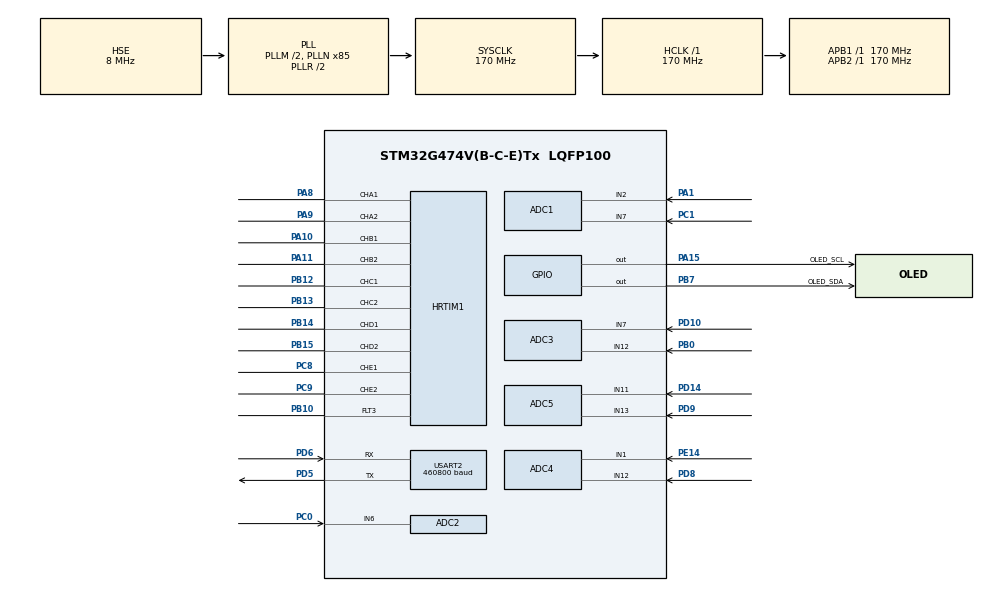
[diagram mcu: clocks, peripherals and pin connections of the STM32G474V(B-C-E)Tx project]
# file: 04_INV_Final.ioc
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ADC1.AWD1HighThreshold=4095
ADC1.AWD1ITMode=ENABLE
ADC1.AWD2HighThreshold=4095
ADC1.AWD2ITMode=ENABLE
ADC1.AWDChannel-1\#ChannelRegularConversion=ADC_CHANNEL_7
ADC1.Channel-0\#ChannelRegularConversion=ADC_CHANNEL_2
ADC1.Channel-1\#ChannelRegularConversion=ADC_CHANNEL_7
ADC1.ClockPrescaler=ADC_CLOCK_ASYNC_DIV4
ADC1.DMAContinuousRequests=ENABLE
ADC1.EOCSelection=ADC_EOC_SEQ_CONV
ADC1.EnableAnalogWatchDog1=true
ADC1.EnableAnalogWatchDog2=true
ADC1.ExternalTrigConv=ADC_EXTERNALTRIG_HRTIM_TRG1
ADC1.MonitoredBy-1\#ChannelRegularConversion=ADC_ANALOGWATCHDOG_2
ADC1.NbrOfConversion=2
ADC1.NbrOfConversionFlag=1
ADC1.OffsetNumber-0\#ChannelRegularConversion=ADC_OFFSET_NONE
ADC1.OffsetNumber-1\#ChannelRegularConversion=ADC_OFFSET_NONE
ADC1.Overrun=ADC_OVR_DATA_OVERWRITTEN
ADC1.Rank-0\#ChannelRegularConversion=1
ADC1.Rank-1\#ChannelRegularConversion=2
ADC1.RegFilteringConfig-1\#ChannelRegularConversion=ADC_AWD_FILTERING_NONE
ADC1.SamplingTime-0\#ChannelRegularConversion=ADC_SAMPLETIME_24CYCLES_5
ADC1.SamplingTime-1\#ChannelRegularConversion=ADC_SAMPLETIME_24CYCLES_5
ADC1.WDG2ChannelR2=ADC_CHANNEL_7
ADC1.WatchdogChannel=ADC_CHANNEL_2
ADC1.WatchdogMode2=ADC_ANALOGWATCHDOG_SINGLE_REGINJEC
ADC1.master=1
ADC2.AWD1HighThreshold=4095
ADC2.AWD1ITMode=ENABLE
ADC2.Channel-0\#ChannelRegularConversion=ADC_CHANNEL_6
ADC2.ClockPrescaler=ADC_CLOCK_ASYNC_DIV4
ADC2.DMAContinuousRequests=ENABLE
ADC2.EOCSelection=ADC_EOC_SEQ_CONV
ADC2.EnableAnalogWatchDog1=true
ADC2.ExternalTrigConv=ADC_EXTERNALTRIG_HRTIM_TRG1
ADC2.NbrOfConversion=1
ADC2.NbrOfConversionFlag=1
ADC2.OffsetNumber-0\#ChannelRegularConversion=ADC_OFFSET_NONE
ADC2.Overrun=ADC_OVR_DATA_OVERWRITTEN
ADC2.Rank-0\#ChannelRegularConversion=1
ADC2.SamplingTime-0\#ChannelRegularConversion=ADC_SAMPLETIME_24CYCLES_5
ADC2.WatchdogChannel=ADC_CHANNEL_6
ADC3.AWD1HighThreshold=4095
ADC3.AWD1ITMode=ENABLE
ADC3.AWD2HighThreshold=4095
ADC3.AWD2ITMode=ENABLE
ADC3.AWDChannel-2\#ChannelRegularConversion=ADC_CHANNEL_7
ADC3.Channel-0\#ChannelRegularConversion=ADC_CHANNEL_12
ADC3.Channel-2\#ChannelRegularConversion=ADC_CHANNEL_7
ADC3.ClockPrescaler=ADC_CLOCK_ASYNC_DIV4
ADC3.DMAContinuousRequests=ENABLE
ADC3.EOCSelection=ADC_EOC_SEQ_CONV
ADC3.EnableAnalogWatchDog1=true
ADC3.EnableAnalogWatchDog2=true
ADC3.ExternalTrigConv=ADC_EXTERNALTRIG_HRTIM_TRG2
ADC3.MonitoredBy-2\#ChannelRegularConversion=ADC_ANALOGWATCHDOG_2
ADC3.NbrOfConversion=2
ADC3.NbrOfConversionFlag=1
ADC3.OffsetNumber-2\#ChannelRegularConversion=ADC_OFFSET_NONE
ADC3.Overrun=ADC_OVR_DATA_OVERWRITTEN
ADC3.Rank-2\#ChannelRegularConversion=2
ADC3.RegFilteringConfig-2\#ChannelRegularConversion=ADC_AWD_FILTERING_NONE
ADC3.SamplingTime-0\#ChannelRegularConversion=ADC_SAMPLETIME_24CYCLES_5
ADC3.SamplingTime-2\#ChannelRegularConversion=ADC_SAMPLETIME_24CYCLES_5
ADC3.WDG2ChannelR2=ADC_CHANNEL_7
ADC3.WatchdogChannel=ADC_CHANNEL_12
ADC3.WatchdogMode2=ADC_ANALOGWATCHDOG_SINGLE_REGINJEC
ADC3.master=1
ADC4.AWD1HighThreshold=4095
ADC4.AWD1ITMode=ENABLE
ADC4.AWD2HighThreshold=4095
ADC4.AWD2ITMode=ENABLE
ADC4.AWDChannel-1\#ChannelRegularConversion=ADC_CHANNEL_1
ADC4.Channel-0\#ChannelRegularConversion=ADC_CHANNEL_12
ADC4.Channel-1\#ChannelRegularConversion=ADC_CHANNEL_1
ADC4.ClockPrescaler=ADC_CLOCK_ASYNC_DIV4
ADC4.DMAContinuousRequests=ENABLE
ADC4.EOCSelection=ADC_EOC_SEQ_CONV
ADC4.EnableAnalogWatchDog1=true
ADC4.EnableAnalogWatchDog2=true
ADC4.ExternalTrigConv=ADC_EXTERNALTRIG_HRTIM_TRG2
ADC4.MonitoredBy-1\#ChannelRegularConversion=ADC_ANALOGWATCHDOG_2
ADC4.NbrOfConversion=2
ADC4.NbrOfConversionFlag=1
ADC4.OffsetNumber-0\#ChannelRegularConversion=ADC_OFFSET_NONE
ADC4.OffsetNumber-1\#ChannelRegularConversion=ADC_OFFSET_NONE
ADC4.Overrun=ADC_OVR_DATA_OVERWRITTEN
ADC4.Rank-0\#ChannelRegularConversion=1
ADC4.Rank-1\#ChannelRegularConversion=2
ADC4.RegFilteringConfig-1\#ChannelRegularConversion=ADC_AWD_FILTERING_NONE
ADC4.SamplingTime-0\#ChannelRegularConversion=ADC_SAMPLETIME_24CYCLES_5
ADC4.SamplingTime-1\#ChannelRegularConversion=ADC_SAMPLETIME_24CYCLES_5
ADC4.WDG2ChannelR2=ADC_CHANNEL_1
ADC4.WatchdogChannel=ADC_CHANNEL_12
ADC4.WatchdogMode2=ADC_ANALOGWATCHDOG_SINGLE_REGINJEC
ADC5.AWD1HighThreshold=4095
ADC5.AWD1ITMode=ENABLE
ADC5.AWD2HighThreshold=4095
ADC5.AWD2ITMode=ENABLE
ADC5.AWDChannel-1\#ChannelRegularConversion=ADC_CHANNEL_11
ADC5.Channel-0\#ChannelRegularConversion=ADC_CHANNEL_13
ADC5.Channel-1\#ChannelRegularConversion=ADC_CHANNEL_11
ADC5.ClockPrescaler=ADC_CLOCK_ASYNC_DIV4
ADC5.DMAContinuousRequests=ENABLE
ADC5.EOCSelection=ADC_EOC_SEQ_CONV
ADC5.EnableAnalogWatchDog1=true
ADC5.EnableAnalogWatchDog2=true
ADC5.ExternalTrigConv=ADC_EXTERNALTRIG_HRTIM_TRG2
ADC5.MonitoredBy-1\#ChannelRegularConversion=ADC_ANALOGWATCHDOG_2
ADC5.NbrOfConversion=2
ADC5.NbrOfConversionFlag=1
ADC5.OffsetNumber-0\#ChannelRegularConversion=ADC_OFFSET_NONE
ADC5.OffsetNumber-1\#ChannelRegularConversion=ADC_OFFSET_NONE
ADC5.Overrun=ADC_OVR_DATA_OVERWRITTEN
ADC5.Rank-0\#ChannelRegularConversion=1
ADC5.Rank-1\#ChannelRegularConversion=2
ADC5.RegFilteringConfig-1\#ChannelRegularConversion=ADC_AWD_FILTERING_NONE
ADC5.SamplingTime-0\#ChannelRegularConversion=ADC_SAMPLETIME_24CYCLES_5
ADC5.SamplingTime-1\#ChannelRegularConversion=ADC_SAMPLETIME_24CYCLES_5
ADC5.WDG2ChannelR2=ADC_CHANNEL_11
ADC5.WatchdogChannel=ADC_CHANNEL_13
ADC5.WatchdogMode2=ADC_ANALOGWATCHDOG_SINGLE_REGINJEC
Dma.ADC1.0.Direction=DMA_PERIPH_TO_MEMORY
Dma.ADC1.0.EventEnable=DISABLE
Dma.ADC1.0.Instance=DMA1_Channel1
Dma.ADC1.0.MemDataAlignment=DMA_MDATAALIGN_HALFWORD
Dma.ADC1.0.MemInc=DMA_MINC_ENABLE
Dma.ADC1.0.Mode=DMA_CIRCULAR
Dma.ADC1.0.PeriphDataAlignment=DMA_PDATAALIGN_HALFWORD
Dma.ADC1.0.PeriphInc=DMA_PINC_DISABLE
Dma.ADC1.0.Polarity=HAL_DMAMUX_REQ_GEN_RISING
Dma.ADC1.0.Priority=DMA_PRIORITY_HIGH
Dma.ADC1.0.RequestNumber=1
Dma.ADC1.0.SignalID=NONE
Dma.ADC1.0.SyncEnable=DISABLE
Dma.ADC1.0.SyncPolarity=HAL_DMAMUX_SYNC_NO_EVENT
Dma.ADC1.0.SyncRequestNumber=1
Dma.ADC1.0.SyncSignalID=NONE
Dma.ADC2.1.Direction=DMA_PERIPH_TO_MEMORY
Dma.ADC2.1.EventEnable=DISABLE
Dma.ADC2.1.Instance=DMA1_Channel2
Dma.ADC2.1.MemDataAlignment=DMA_MDATAALIGN_HALFWORD
Dma.ADC2.1.MemInc=DMA_MINC_ENABLE
Dma.ADC2.1.Mode=DMA_CIRCULAR
Dma.ADC2.1.PeriphDataAlignment=DMA_PDATAALIGN_HALFWORD
Dma.ADC2.1.PeriphInc=DMA_PINC_DISABLE
Dma.ADC2.1.Polarity=HAL_DMAMUX_REQ_GEN_RISING
Dma.ADC2.1.Priority=DMA_PRIORITY_HIGH
Dma.ADC2.1.RequestNumber=1
Dma.ADC2.1.SignalID=NONE
Dma.ADC2.1.SyncEnable=DISABLE
Dma.ADC2.1.SyncPolarity=HAL_DMAMUX_SYNC_NO_EVENT
Dma.ADC2.1.SyncRequestNumber=1
Dma.ADC2.1.SyncSignalID=NONE
Dma.ADC3.4.Direction=DMA_PERIPH_TO_MEMORY
Dma.ADC3.4.EventEnable=DISABLE
Dma.ADC3.4.Instance=DMA2_Channel1
Dma.ADC3.4.MemDataAlignment=DMA_MDATAALIGN_HALFWORD
Dma.ADC3.4.MemInc=DMA_MINC_ENABLE
Dma.ADC3.4.Mode=DMA_CIRCULAR
Dma.ADC3.4.PeriphDataAlignment=DMA_PDATAALIGN_HALFWORD
Dma.ADC3.4.PeriphInc=DMA_PINC_DISABLE
Dma.ADC3.4.Polarity=HAL_DMAMUX_REQ_GEN_RISING
Dma.ADC3.4.Priority=DMA_PRIORITY_HIGH
Dma.ADC3.4.RequestNumber=1
Dma.ADC3.4.SignalID=NONE
Dma.ADC3.4.SyncEnable=DISABLE
Dma.ADC3.4.SyncPolarity=HAL_DMAMUX_SYNC_NO_EVENT
Dma.ADC3.4.SyncRequestNumber=1
Dma.ADC3.4.SyncSignalID=NONE
Dma.ADC4.2.Direction=DMA_PERIPH_TO_MEMORY
Dma.ADC4.2.EventEnable=DISABLE
Dma.ADC4.2.Instance=DMA2_Channel2
Dma.ADC4.2.MemDataAlignment=DMA_MDATAALIGN_HALFWORD
Dma.ADC4.2.MemInc=DMA_MINC_ENABLE
Dma.ADC4.2.Mode=DMA_CIRCULAR
Dma.ADC4.2.PeriphDataAlignment=DMA_PDATAALIGN_HALFWORD
Dma.ADC4.2.PeriphInc=DMA_PINC_DISABLE
Dma.ADC4.2.Polarity=HAL_DMAMUX_REQ_GEN_RISING
Dma.ADC4.2.Priority=DMA_PRIORITY_HIGH
Dma.ADC4.2.RequestNumber=1
Dma.ADC4.2.SignalID=NONE
Dma.ADC4.2.SyncEnable=DISABLE
Dma.ADC4.2.SyncPolarity=HAL_DMAMUX_SYNC_NO_EVENT
Dma.ADC4.2.SyncRequestNumber=1
Dma.ADC4.2.SyncSignalID=NONE
Dma.ADC5.3.Direction=DMA_PERIPH_TO_MEMORY
Dma.ADC5.3.EventEnable=DISABLE
Dma.ADC5.3.Instance=DMA2_Channel3
Dma.ADC5.3.MemDataAlignment=DMA_MDATAALIGN_HALFWORD
Dma.ADC5.3.MemInc=DMA_MINC_ENABLE
Dma.ADC5.3.Mode=DMA_CIRCULAR
Dma.ADC5.3.PeriphDataAlignment=DMA_PDATAALIGN_HALFWORD
Dma.ADC5.3.PeriphInc=DMA_PINC_DISABLE
Dma.ADC5.3.Polarity=HAL_DMAMUX_REQ_GEN_RISING
Dma.ADC5.3.Priority=DMA_PRIORITY_HIGH
Dma.ADC5.3.RequestNumber=1
Dma.ADC5.3.SignalID=NONE
Dma.ADC5.3.SyncEnable=DISABLE
Dma.ADC5.3.SyncPolarity=HAL_DMAMUX_SYNC_NO_EVENT
Dma.ADC5.3.SyncRequestNumber=1
Dma.ADC5.3.SyncSignalID=NONE
Dma.Request0=ADC1
Dma.Request1=ADC2
Dma.Request2=ADC4
Dma.Request3=ADC5
Dma.Request4=ADC3
HRTIM1.ADCTrigger1_Source1=HRTIM_ADCTRIGGEREVENT13_MASTER_CMP2
HRTIM1.ADCTrigger2_Source1=HRTIM_ADCTRIGGEREVENT24_MASTER_CMP2
HRTIM1.ADCTrigger_Id1=HRTIM_ADCTRIGGER_1
HRTIM1.ADCTrigger_Id2=HRTIM_ADCTRIGGER_2
HRTIM1.BlankingSourceFaultLine3=__NULL
HRTIM1.Bmrom_TA=HRTIM_TIM_BMROM_BOTH
HRTIM1.Bmrom_TB=HRTIM_TIM_BMROM_BOTH
HRTIM1.Bmrom_TC=HRTIM_TIM_BMROM_BOTH
HRTIM1.Bmrom_TD=HRTIM_TIM_BMROM_BOTH
HRTIM1.Bmrom_TE=HRTIM_TIM_BMROM_BOTH
HRTIM1.CompareUnit1-MasterTimer=__NULL
HRTIM1.CompareUnit1-Output_TA1TA2=HRTIM_COMPAREUNIT_1
HRTIM1.CompareUnit1-Output_TB1TB2=HRTIM_COMPAREUNIT_1
HRTIM1.CompareUnit1-Output_TC1TC2=HRTIM_COMPAREUNIT_1
HRTIM1.CompareUnit1-Output_TD1TD2=HRTIM_COMPAREUNIT_1
HRTIM1.CompareUnit1-Output_TE1TE2=HRTIM_COMPAREUNIT_1
HRTIM1.CompareUnit2-MasterTimer=HRTIM_COMPAREUNIT_2
HRTIM1.CompareValue1-Output_TA1TA2=17000
HRTIM1.CompareValue1-Output_TB1TB2=17000
HRTIM1.CompareValue1-Output_TC1TC2=17000
HRTIM1.CompareValue1-Output_TD1TD2=17000
HRTIM1.CompareValue1-Output_TE1TE2=17000
HRTIM1.CompareValue2-MasterTimer=17000
HRTIM1.DeadTimeInsertion-Output_TA1TA2=HRTIM_TIMDEADTIMEINSERTION_ENABLED
HRTIM1.DeadTimeInsertion-Output_TB1TB2=HRTIM_TIMDEADTIMEINSERTION_ENABLED
HRTIM1.DeadTimeInsertion-Output_TC1TC2=HRTIM_TIMDEADTIMEINSERTION_ENABLED
HRTIM1.DeadTimeInsertion-Output_TD1TD2=HRTIM_TIMDEADTIMEINSERTION_ENABLED
HRTIM1.DeadTimeInsertion-Output_TE1TE2=HRTIM_TIMDEADTIMEINSERTION_ENABLED
HRTIM1.FallingValue-Output_TA1TA2=85
HRTIM1.FallingValue-Output_TB1TB2=85
HRTIM1.FallingValue-Output_TC1TC2=85
HRTIM1.FallingValue-Output_TD1TD2=85
HRTIM1.FallingValue-Output_TE1TE2=85
HRTIM1.FaultEnable_Source1-Output_TA1TA2=HRTIM_TIMFAULTENABLE_FAULT3
HRTIM1.FaultEnable_Source1-Output_TB1TB2=HRTIM_TIMFAULTENABLE_FAULT3
HRTIM1.FaultEnable_Source1-Output_TC1TC2=HRTIM_TIMFAULTENABLE_FAULT3
HRTIM1.FaultEnable_Source1-Output_TD1TD2=HRTIM_TIMFAULTENABLE_FAULT3
HRTIM1.FaultEnable_Source1-Output_TE1TE2=HRTIM_TIMFAULTENABLE_FAULT3
HRTIM1.FaultLevel1-Output_TA1TA2=HRTIM_OUTPUTFAULTLEVEL_INACTIVE
HRTIM1.FaultLevel1-Output_TB1TB2=HRTIM_OUTPUTFAULTLEVEL_INACTIVE
HRTIM1.FaultLevel1-Output_TC1TC2=HRTIM_OUTPUTFAULTLEVEL_INACTIVE
HRTIM1.FaultLevel1-Output_TD1TD2=HRTIM_OUTPUTFAULTLEVEL_INACTIVE
HRTIM1.FaultLevel1-Output_TE1TE2=HRTIM_OUTPUTFAULTLEVEL_INACTIVE
HRTIM1.FaultLevel2-Output_TA1TA2=HRTIM_OUTPUTFAULTLEVEL_INACTIVE
HRTIM1.FaultLevel2-Output_TB1TB2=HRTIM_OUTPUTFAULTLEVEL_INACTIVE
HRTIM1.FaultLevel2-Output_TC1TC2=HRTIM_OUTPUTFAULTLEVEL_INACTIVE
HRTIM1.FaultLevel2-Output_TD1TD2=HRTIM_OUTPUTFAULTLEVEL_INACTIVE
HRTIM1.FaultLevel2-Output_TE1TE2=HRTIM_OUTPUTFAULTLEVEL_INACTIVE
HRTIM1.Fault_Line3=HRTIM_FAULT_3
HRTIM1.Ferom_TA=HRTIM_TIM_FEROM_BOTH
HRTIM1.Ferom_TB=HRTIM_TIM_FEROM_BOTH
HRTIM1.Ferom_TC=HRTIM_TIM_FEROM_BOTH
HRTIM1.Ferom_TD=HRTIM_TIM_FEROM_BOTH
HRTIM1.Ferom_TE=HRTIM_TIM_FEROM_BOTH
HRTIM1.HRTIMInterruptResquests1=HRTIM_IT_FLT3
HRTIM1.NumberADCTriggerSource1=1
HRTIM1.NumberADCTriggerSource2=1
HRTIM1.NumberFaultEnable-Output_TA1TA2=1
HRTIM1.NumberFaultEnable-Output_TB1TB2=1
HRTIM1.NumberFaultEnable-Output_TC1TC2=1
HRTIM1.NumberFaultEnable-Output_TD1TD2=1
HRTIM1.NumberFaultEnable-Output_TE1TE2=1
HRTIM1.NumberResetSource1-Output_TA1TA2=1
HRTIM1.NumberResetSource1-Output_TB1TB2=1
HRTIM1.NumberResetSource1-Output_TC1TC2=1
HRTIM1.NumberResetSource1-Output_TD1TD2=1
HRTIM1.NumberResetSource1-Output_TE1TE2=1
HRTIM1.NumberSetSource1-Output_TA1TA2=1
HRTIM1.NumberSetSource1-Output_TB1TB2=1
HRTIM1.NumberSetSource1-Output_TC1TC2=1
HRTIM1.NumberSetSource1-Output_TD1TD2=1
HRTIM1.NumberSetSource1-Output_TE1TE2=1
HRTIM1.NumberUpdateTrigger-Output_TA1TA2=0
HRTIM1.Outrom_TA=HRTIM_TIM_OUTROM_VALLEY
HRTIM1.Outrom_TB=HRTIM_TIM_OUTROM_VALLEY
HRTIM1.Outrom_TC=HRTIM_TIM_OUTROM_VALLEY
HRTIM1.Outrom_TD=HRTIM_TIM_OUTROM_VALLEY
HRTIM1.Outrom_TE=HRTIM_TIM_OUTROM_VALLEY
HRTIM1.Periode_MASTER=34000
HRTIM1.Periode_TA=34000
HRTIM1.Periode_TB=34000
HRTIM1.Periode_TC=34000
HRTIM1.Periode_TD=34000
HRTIM1.Periode_TE=34000
HRTIM1.Polarity_FaultLine3=HRTIM_FAULTPOLARITY_LOW
HRTIM1.PreloadEnable-Output_TA1TA2=HRTIM_PRELOAD_ENABLED
HRTIM1.PreloadEnable-Output_TB1TB2=HRTIM_PRELOAD_ENABLED
HRTIM1.PreloadEnable-Output_TC1TC2=HRTIM_PRELOAD_ENABLED
HRTIM1.PreloadEnable-Output_TD1TD2=HRTIM_PRELOAD_ENABLED
HRTIM1.PreloadEnable-Output_TE1TE2=HRTIM_PRELOAD_ENABLED
HRTIM1.PrescalerDead-Output_TA1TA2=HRTIM_TIMDEADTIME_PRESCALERRATIO_DIV1
HRTIM1.PrescalerDead-Output_TB1TB2=HRTIM_TIMDEADTIME_PRESCALERRATIO_DIV1
HRTIM1.PrescalerDead-Output_TC1TC2=HRTIM_TIMDEADTIME_PRESCALERRATIO_DIV1
HRTIM1.PrescalerDead-Output_TD1TD2=HRTIM_TIMDEADTIME_PRESCALERRATIO_DIV1
HRTIM1.PrescalerDead-Output_TE1TE2=HRTIM_TIMDEADTIME_PRESCALERRATIO_DIV1
HRTIM1.PrescalerRatio_MASTER=HRTIM_PRESCALERRATIO_MUL2
HRTIM1.PrescalerRatio_TA=HRTIM_PRESCALERRATIO_MUL4
HRTIM1.PrescalerRatio_TB=HRTIM_PRESCALERRATIO_MUL4
HRTIM1.PrescalerRatio_TC=HRTIM_PRESCALERRATIO_MUL4
HRTIM1.PrescalerRatio_TD=HRTIM_PRESCALERRATIO_MUL4
HRTIM1.PrescalerRatio_TE=HRTIM_PRESCALERRATIO_MUL4
HRTIM1.RepetitionCounter-MasterTimer=0
HRTIM1.RepetitionCounter-Output_TA1TA2=0
HRTIM1.RepetitionCounter-Output_TB1TB2=0
HRTIM1.RepetitionCounter-Output_TC1TC2=0
HRTIM1.RepetitionCounter-Output_TD1TD2=0
HRTIM1.RepetitionCounter-Output_TE1TE2=0
HRTIM1.RepetitionUpdate-Output_TA1TA2=HRTIM_UPDATEONREPETITION_ENABLED
HRTIM1.RepetitionUpdate-Output_TB1TB2=HRTIM_UPDATEONREPETITION_ENABLED
HRTIM1.RepetitionUpdate-Output_TC1TC2=HRTIM_UPDATEONREPETITION_ENABLED
HRTIM1.RepetitionUpdate-Output_TD1TD2=HRTIM_UPDATEONREPETITION_ENABLED
HRTIM1.RepetitionUpdate-Output_TE1TE2=HRTIM_UPDATEONREPETITION_ENABLED
HRTIM1.ResetOutput1_Source1-Output_TA1TA2=HRTIM_OUTPUTRESET_TIMCMP1
HRTIM1.ResetOutput1_Source1-Output_TB1TB2=HRTIM_OUTPUTRESET_TIMCMP1
HRTIM1.ResetOutput1_Source1-Output_TC1TC2=HRTIM_OUTPUTRESET_TIMCMP1
HRTIM1.ResetOutput1_Source1-Output_TD1TD2=HRTIM_OUTPUTRESET_TIMCMP1
HRTIM1.ResetOutput1_Source1-Output_TE1TE2=HRTIM_OUTPUTRESET_TIMCMP1
HRTIM1.RisingValue-Output_TA1TA2=85
HRTIM1.RisingValue-Output_TB1TB2=85
HRTIM1.RisingValue-Output_TC1TC2=85
HRTIM1.RisingValue-Output_TD1TD2=85
HRTIM1.RisingValue-Output_TE1TE2=85
HRTIM1.SetOutput1_Source1-Output_TA1TA2=HRTIM_OUTPUTSET_TIMCMP1
HRTIM1.SetOutput1_Source1-Output_TB1TB2=HRTIM_OUTPUTSET_TIMCMP1
HRTIM1.SetOutput1_Source1-Output_TC1TC2=HRTIM_OUTPUTSET_TIMCMP1
HRTIM1.SetOutput1_Source1-Output_TD1TD2=HRTIM_OUTPUTSET_TIMCMP1
HRTIM1.SetOutput1_Source1-Output_TE1TE2=HRTIM_OUTPUTSET_TIMCMP1
HRTIM1.UpDownMode-Output_TA1TA2=HRTIM_TIMERUPDOWNMODE_UPDOWN
HRTIM1.UpDownMode-Output_TB1TB2=HRTIM_TIMERUPDOWNMODE_UPDOWN
HRTIM1.UpDownMode-Output_TC1TC2=HRTIM_TIMERUPDOWNMODE_UPDOWN
HRTIM1.UpDownMode-Output_TD1TD2=HRTIM_TIMERUPDOWNMODE_UPDOWN
HRTIM1.UpDownMode-Output_TE1TE2=HRTIM_TIMERUPDOWNMODE_UPDOWN
HRTIM1.postscaler1=0
HRTIM1.postscaler2=0
HRTIM1.rom_TA=HRTIM_TIM_ROM_VALLEY
HRTIM1.rom_TB=HRTIM_TIM_ROM_VALLEY
HRTIM1.rom_TC=HRTIM_TIM_ROM_VALLEY
HRTIM1.rom_TD=HRTIM_TIM_ROM_VALLEY
HRTIM1.rom_TE=HRTIM_TIM_ROM_VALLEY
IWDG.Prescaler=IWDG_PRESCALER_64
IWDG.Reload=249
Mcu.Family=STM32G4
Mcu.Name=STM32G474V(B-C-E)Tx
Mcu.Package=LQFP100
NVIC.ADC1_2_IRQn=true\:1\:0\:true\:false\:true\:true\:true\:true
NVIC.ADC3_IRQn=true\:1\:0\:true\:false\:true\:true\:true\:true
NVIC.ADC4_IRQn=true\:1\:0\:true\:false\:true\:true\:true\:true
NVIC.ADC5_IRQn=true\:1\:0\:true\:false\:true\:true\:true\:true
NVIC.DMA1_Channel1_IRQn=true\:2\:0\:true\:false\:true\:false\:true\:true
NVIC.DMA1_Channel2_IRQn=true\:1\:0\:true\:false\:true\:false\:true\:true
NVIC.DMA2_Channel1_IRQn=true\:1\:0\:true\:false\:true\:false\:true\:true
NVIC.DMA2_Channel2_IRQn=true\:1\:0\:true\:false\:true\:false\:true\:true
NVIC.DMA2_Channel3_IRQn=true\:1\:0\:true\:false\:true\:false\:true\:true
NVIC.HRTIM1_FLT_IRQn=true\:0\:0\:false\:false\:true\:true\:true\:true
NVIC.PriorityGroup=NVIC_PRIORITYGROUP_4
PA1.Mode=IN2-Single-Ended
PA1.Signal=ADC1_IN2
PA10.Mode=Output_TB1TB2
PA10.Signal=HRTIM1_CHB1
PA11.Mode=Output_TB1TB2
PA11.Signal=HRTIM1_CHB2
PA13.Mode=Serial_Wire
PA13.Signal=SYS_JTMS-SWDIO
PA14.Mode=Serial_Wire
PA14.Signal=SYS_JTCK-SWCLK
PA15.GPIO_Label=OLED_SCL
PA15.GPIO_ModeDefaultOutputPP=GPIO_MODE_OUTPUT_PP
PA15.GPIO_PuPd=GPIO_NOPULL
PA15.GPIO_Speed=GPIO_SPEED_FREQ_HIGH
PA15.Signal=GPIO_Output
PA8.Mode=Output_TA1TA2
PA8.Signal=HRTIM1_CHA1
PA9.Mode=Output_TA1TA2
PA9.Signal=HRTIM1_CHA2
PB0.Mode=IN12-Single-Ended
PB0.Signal=ADC3_IN12
PB10.GPIO_PuPd=GPIO_PULLUP
PB10.Mode=Fault_Enable3
PB10.Signal=HRTIM1_FLT3
PB12.Mode=Output_TC1TC2
PB12.Signal=HRTIM1_CHC1
PB13.Mode=Output_TC1TC2
PB13.Signal=HRTIM1_CHC2
PB14.Mode=Output_TD1TD2
PB14.Signal=HRTIM1_CHD1
PB15.Mode=Output_TD1TD2
PB15.Signal=HRTIM1_CHD2
PB7.GPIO_Label=OLED_SDA
PB7.GPIO_ModeDefaultOutputPP=GPIO_MODE_OUTPUT_OD
PB7.GPIO_PuPd=GPIO_NOPULL
PB7.GPIO_Speed=GPIO_SPEED_FREQ_HIGH
PB7.Signal=GPIO_Output
PC0.Mode=IN6-Single-Ended
PC0.Signal=ADC2_IN6
PC1.Mode=IN7-Single-Ended
PC1.Signal=ADC1_IN7
PC8.Mode=Output_TE1TE2
PC8.Signal=HRTIM1_CHE1
PC9.Mode=Output_TE1TE2
PC9.Signal=HRTIM1_CHE2
PD10.Mode=IN7-Single-Ended
PD10.Signal=ADC3_IN7
PD14.Mode=IN11-Single-Ended
PD14.Signal=ADC5_IN11
PD5.Mode=Asynchronous
PD5.Signal=USART2_TX
PD6.Mode=Asynchronous
PD6.Signal=USART2_RX
PD8.Mode=IN12-Single-Ended
PD8.Signal=ADC4_IN12
PD9.Mode=IN13-Single-Ended
PD9.Signal=ADC5_IN13
PE14.Mode=IN1-Single-Ended
PE14.Signal=ADC4_IN1
PF0-OSC_IN.Mode=HSE-External-Oscillator
PF0-OSC_IN.Signal=RCC_OSC_IN
PF1-OSC_OUT.Mode=HSE-External-Oscillator
PF1-OSC_OUT.Signal=RCC_OSC_OUT
ProjectManager.HeapSize=0x200
ProjectManager.StackSize=0x400
ProjectManager.TargetToolchain=MDK-ARM V5.32
RCC.ADC12Freq_Value=170000000
RCC.ADC345Freq_Value=170000000
RCC.AHBFreq_Value=170000000
RCC.APB1Freq_Value=170000000
RCC.APB1TimFreq_Value=170000000
RCC.APB2Freq_Value=170000000
RCC.APB2TimFreq_Value=170000000
RCC.CortexFreq_Value=170000000
RCC.EXTERNAL_CLOCK_VALUE=12288000
RCC.EnbaleCSS=true
RCC.HCLKFreq_Value=170000000
RCC.HSE_VALUE=8000000
RCC.HSI48_VALUE=48000000
RCC.HSI_VALUE=16000000
RCC.LSE_VALUE=32768
RCC.PLLM=RCC_PLLM_DIV2
RCC.PLLN=85
RCC.PLLSourceVirtual=RCC_PLLSOURCE_HSE
RCC.SYSCLKFreq_VALUE=170000000
RCC.SYSCLKSource=RCC_SYSCLKSOURCE_PLLCLK
RCC.USBFreq_Value=170000000
RCC.VCOOutputFreq_Value=340000000
USART2.BaudRate=460800
USART2.VirtualMode-Asynchronous=VM_ASYNC
VP_HRTIM1_VS_hrtimMasterTimerNoOutput.Mode=MasterTimer
VP_IWDG_VS_IWDG.Mode=IWDG_Activate
VP_SYS_VS_DBSignals.Mode=DisableDeadBatterySignals
board=custom

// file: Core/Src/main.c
/* USER CODE BEGIN Header */
/**
  ******************************************************************************
  * @file           : main.c
  * @brief          : 三相逆变开环、ADC标定与α/β双PR电压闭环调试入口
  ******************************************************************************
  * @attention
  *
  * Copyright (c) 2026 STMicroelectronics.
  * All rights reserved.
  *
  ******************************************************************************
  */
/* USER CODE END Header */
#include "main.h"
#include "adc.h"
#include "dma.h"
#include "hrtim.h"
#include "usart.h"
#include "gpio.h"

/* USER CODE BEGIN Includes */
#include "CBSVPWM.h"
#include "OLED.h"
#include "inv_hrtim.h"
#include "inv_measure.h"
#include "inv_open_loop.h"
#include "inv_user_config.h"
#include "inv_voltage_pr.h"
#include "iwdg.h"
#include "vofa.h"
/* USER CODE END Includes */

/* USER CODE BEGIN PTD */

/** 应用状态只在本文件内部使用，状态码通过OLED和VOFA对外发布。 */
typedef enum
{
  INV_STATE_SAFE = 0U,
  INV_STATE_ADC_START,
  INV_STATE_ADC_READY,
  INV_STATE_CALIBRATION_BLOCK,
  INV_STATE_PR_RAMP,
  INV_STATE_PR_RUN,
  INV_STATE_FAULT_LATCH
} INV_AppState;

/* USER CODE END PTD */

/* USER CODE BEGIN PD */

#if (INV_USER_OUTPUT_FREQUENCY == 30U)
#define INV_SELECTED_FREQUENCY INV_FREQ_30HZ
#else
#define INV_SELECTED_FREQUENCY INV_FREQ_60HZ
#endif

#if (INV_USER_WORK_MODE == INV_MODE_ADC_CALIBRATION)
  #if (INV_USER_CALIBRATION_STEP == INV_CAL_STEP_ZERO)
    #define INV_SELECTED_MEASURE_MODE INV_MEASURE_CALIBRATE_ZERO
  #else
    #define INV_SELECTED_MEASURE_MODE INV_MEASURE_CALIBRATE_GAIN
  #endif
#else
  #define INV_SELECTED_MEASURE_MODE INV_MEASURE_RUN_AUTO_OFFSET
#endif

/* USER CODE END PD */

/* USER CODE BEGIN PV */

static float vofa_data[VOFA_MAX_CHANNELS];
static CBSVPWM_t inv_svpwm;
static volatile INV_AppState inv_state = INV_STATE_SAFE;
static volatile uint32_t inv_control_heartbeat;

#if (INV_USER_WORK_MODE != INV_MODE_ADC_CALIBRATION)
static const INV_OpenLoopConfig inv_open_loop_config =
{
  INV_USER_DC_BUS_V,
  INV_USER_LINE_RMS_V,
  INV_SELECTED_FREQUENCY,
  INV_USER_MODULATION_LIMIT,
  INV_USER_SOFT_START_MS,
  INV_USER_CONTROL_FREQUENCY_HZ
};
#endif

static const INV_MeasureConfig inv_measure_config =
{
  INV_SELECTED_MEASURE_MODE,
  INV_USER_OFFSET_SAMPLES,
  INV_USER_GAIN_SAMPLES,
  INV_USER_CAL_MIN_DELTA_COUNTS,
  {
    INV_USER_IU_OFFSET, INV_USER_IV_OFFSET, INV_USER_IW_OFFSET,
    INV_USER_VUV_OFFSET, INV_USER_VVW_OFFSET, INV_USER_VWU_OFFSET
  },
  {
    INV_USER_IU_SCALE_A_PER_COUNT,
    INV_USER_IV_SCALE_A_PER_COUNT,
    INV_USER_IW_SCALE_A_PER_COUNT,
    INV_USER_VUV_SCALE_V_PER_COUNT,
    INV_USER_VVW_SCALE_V_PER_COUNT,
    INV_USER_VWU_SCALE_V_PER_COUNT
  },
  INV_USER_CALIBRATION_CHANNEL,
  INV_USER_CALIBRATION_REFERENCE,
  INV_USER_ADC_MAX_SKEW_FRAMES,
  INV_USER_ADC_RAIL_LOW_COUNT,
  INV_USER_ADC_RAIL_HIGH_COUNT,
  INV_USER_ADC_RAIL_CONFIRM_FRAMES
};

#if (INV_USER_WORK_MODE == INV_MODE_VOLTAGE_PR)
static const INV_VoltagePRConfig inv_voltage_pr_config =
{
  INV_USER_PR_KP,
  INV_USER_PR_KR,
  (float)INV_USER_OUTPUT_FREQUENCY,
  INV_USER_PR_BANDWIDTH_RAD_S,
  (float)INV_USER_CONTROL_FREQUENCY_HZ,
  INV_USER_PR_CORRECTION_LIMIT_V,
  INV_USER_PR_RECOVERY_VALID_FRAMES,
  (INV_USER_PR_TAKEOVER_MS * INV_USER_CONTROL_FREQUENCY_HZ) / 1000U
};
#endif

/* USER CODE END PV */

void SystemClock_Config(void);
/* USER CODE BEGIN PFP */
static void INV_AppLatchFault3(void);
static void INV_AppHandleDiagnostic(uint32_t diagnostic_bits);
static HAL_StatusTypeDef INV_AppWaitForSampling(void);
#if ((INV_USER_WORK_MODE != INV_MODE_ADC_CALIBRATION) && \
     !((INV_USER_WORK_MODE == INV_MODE_VOLTAGE_PR) && \
       (INV_USER_VOLTAGE_CALIBRATION_CONFIRMED == 0U)))
static HAL_StatusTypeDef INV_AppEnableOutputs(void);
#endif
#if (INV_USER_WORK_MODE != INV_MODE_ADC_CALIBRATION)
static void INV_AppRunFastControl(const INV_Measurement *measurement);
#endif
#if (INV_USER_WORK_MODE == INV_MODE_VOLTAGE_PR)
static uint32_t INV_DisplayUnsignedCenti(float value);
static int32_t INV_DisplaySignedCenti(float value);
#endif
/* USER CODE END PFP */

/* USER CODE BEGIN 0 */

/**
 * @brief 记录一个调试诊断，并按编译开关决定是否升级为软件关断。
 * @param diagnostic_bits INV_DiagnosticMask位组合。
 * @note 默认INV_USER_RELAXED_PR_TEST=1时只记录，PWM继续运行或回退开环。
 */
static void INV_AppHandleDiagnostic(uint32_t diagnostic_bits)
{
  INV_Measure_LatchDiagnostic(diagnostic_bits);
#if (INV_USER_RELAXED_PR_TEST == 0U)
  INV_HRTIM_DisableOutputs();
  INV_Measure_LatchFault(INV_FAULT_SYSTEM);
  INV_OpenLoop_Reset();
  INV_VoltagePR_Reset();
  CBSVPWM_Reset(&inv_svpwm);
  inv_state = INV_STATE_FAULT_LATCH;
#endif
}

/**
 * @brief HRTIM硬件已关断后锁存FLT3，并禁止软件自动重新开放PWM。
 * @note 可从Fault ISR调用；不执行OLED、USART、HAL_Delay或其他阻塞操作。
 */
static void INV_AppLatchFault3(void)
{
  INV_HRTIM_DisableOutputs();
  INV_Measure_LatchFault(INV_FAULT_FLT3);
  INV_OpenLoop_Reset();
  INV_VoltagePR_Reset();
  CBSVPWM_Reset(&inv_svpwm);
  inv_state = INV_STATE_FAULT_LATCH;
}

/** 等待ZERO/GAIN或运行模式自动offset完成，等待期间六路PWM保持关闭。 */
static HAL_StatusTypeDef INV_AppWaitForSampling(void)
{
  uint32_t start_tick = HAL_GetTick();
  INV_Measurement measurement;
#if (INV_USER_WORK_MODE == INV_MODE_ADC_CALIBRATION)
  INV_CalibrationResult calibration;
#endif

  while ((HAL_GetTick() - start_tick) < INV_USER_STARTUP_TIMEOUT_MS)
  {
    INV_Measure_GetSnapshot(&measurement);
#if (INV_USER_WORK_MODE == INV_MODE_ADC_CALIBRATION)
    INV_Measure_GetCalibrationResult(&calibration);
    if (calibration.complete != 0U)
    {
      return HAL_OK;
    }
#else
    if ((measurement.offset_ready != 0U) && (measurement.valid != 0U))
    {
      return HAL_OK;
    }
#endif
  }
  INV_AppHandleDiagnostic(INV_DIAG_ADC_SYNC);
  return HAL_TIMEOUT;
}

/** 在50%初始占空比、PB10正常时按用户输出开关开放六路PWM。 */
#if ((INV_USER_WORK_MODE != INV_MODE_ADC_CALIBRATION) && \
     !((INV_USER_WORK_MODE == INV_MODE_VOLTAGE_PR) && \
       (INV_USER_VOLTAGE_CALIBRATION_CONFIRMED == 0U)))
static HAL_StatusTypeDef INV_AppEnableOutputs(void)
{
  if ((HAL_GPIO_ReadPin(GPIOB, GPIO_PIN_10) == GPIO_PIN_RESET) ||
      (__HAL_HRTIM_GET_FLAG(&hhrtim1, HRTIM_FLAG_FLT3) != RESET))
  {
    INV_AppLatchFault3();
    return HAL_ERROR;
  }
  if (INV_HRTIM_SetDuty(0.5f, 0.5f, 0.5f) != HAL_OK)
  {
    INV_AppHandleDiagnostic(INV_DIAG_PWM_COMMAND);
    return HAL_ERROR;
  }
#if (INV_USER_ENABLE_PWM_OUTPUT != 0U)
  return INV_HRTIM_EnableOutputs();
#else
  return HAL_OK;
#endif
}
#endif

/**
 * @brief 在一个完整ADC同步帧后运行一次DDS、双PR、CBSVPWM和Compare更新。
 * @param measurement 六通道一致性快照；波形模式可传NULL。
 * @note 运行于DMA ISR，目标频率10 kHz；禁止OLED、USART及阻塞HAL调用。
 */
#if (INV_USER_WORK_MODE != INV_MODE_ADC_CALIBRATION)
static void INV_AppRunFastControl(const INV_Measurement *measurement)
{
  INV_OpenLoopOutput reference;
  float vu_command;
  float vv_command;
  float vw_command;

  if ((inv_state != INV_STATE_PR_RAMP) && (inv_state != INV_STATE_PR_RUN))
  {
    return;
  }
  if (!INV_OpenLoop_Step(&reference))
  {
    INV_AppHandleDiagnostic(INV_DIAG_PARAMETER);
    return;
  }

  vu_command = reference.vu_command;
  vv_command = reference.vv_command;
  vw_command = reference.vw_command;

#if (INV_USER_WORK_MODE == INV_MODE_VOLTAGE_PR)
  {
    INV_VoltagePRTelemetry voltage_control;
    if (!INV_VoltagePR_Step(&reference, measurement, &voltage_control))
    {
      INV_VoltagePR_Reset();
      INV_AppHandleDiagnostic(INV_DIAG_PR_INVALID);
    }
    else
    {
      vu_command = voltage_control.vu_command;
      vv_command = voltage_control.vv_command;
      vw_command = voltage_control.vw_command;
      if (voltage_control.feedback_valid == 0U)
      {
        INV_AppHandleDiagnostic(INV_DIAG_PR_INVALID);
      }
      if (voltage_control.limited != 0U)
      {
        INV_AppHandleDiagnostic(INV_DIAG_LIMITED);
      }
      if ((reference.ramp >= 1.0f) && (voltage_control.takeover >= 1.0f) &&
          (voltage_control.fallback_active == 0U))
      {
        inv_state = INV_STATE_PR_RUN;
      }
    }
  }
#else
  if (reference.ramp >= 1.0f)
  {
    inv_state = INV_STATE_PR_RUN;
  }
#endif

  if (CBSVPWM_Calc3Leg(&inv_svpwm, vu_command, vv_command, vw_command,
                       reference.dc_bus_v) == 0U)
  {
    /* 闭环命令异常时再试一次纯前馈，保证不会把非法数写入HRTIM。 */
    INV_AppHandleDiagnostic(INV_DIAG_SVPWM);
    CBSVPWM_Reset(&inv_svpwm);
    if (CBSVPWM_Calc3Leg(&inv_svpwm,
                         reference.vu_command,
                         reference.vv_command,
                         reference.vw_command,
                         reference.dc_bus_v) == 0U)
    {
      return;
    }
  }
  if (inv_svpwm.limited != 0U)
  {
    INV_AppHandleDiagnostic(INV_DIAG_LIMITED);
  }
  if (INV_HRTIM_SetDuty(inv_svpwm.duty_u, inv_svpwm.duty_v,
                        inv_svpwm.duty_w) != HAL_OK)
  {
    INV_AppHandleDiagnostic(INV_DIAG_PWM_COMMAND);
    return;
  }
  inv_control_heartbeat++;
}
#endif

/** 把非负电压转换为0.01V整数并限制到OLED四位区域。 */
#if (INV_USER_WORK_MODE == INV_MODE_VOLTAGE_PR)
static uint32_t INV_DisplayUnsignedCenti(float value)
{
  float magnitude = (value < 0.0f) ? -value : value;
  if (magnitude > 99.99f)
  {
    magnitude = 99.99f;
  }
  return (uint32_t)(magnitude * 100.0f + 0.5f);
}

/** 把有符号PR校正转换为0.01V整数并限制到OLED三位区域。 */
static int32_t INV_DisplaySignedCenti(float value)
{
  if (value > 9.99f)
  {
    value = 9.99f;
  }
  else if (value < -9.99f)
  {
    value = -9.99f;
  }
  return (int32_t)(value * 100.0f);
}
#endif

/* USER CODE END 0 */

int main(void)
{

  /* MCU Configuration--------------------------------------------------------*/

  /* Reset of all peripherals, Initializes the Flash interface and the Systick. */
  HAL_Init();

  /* Configure the system clock */
  SystemClock_Config();

  /* Initialize all configured peripherals */
  MX_GPIO_Init();
  MX_DMA_Init();
  MX_HRTIM1_Init();
  MX_ADC1_Init();
  MX_ADC2_Init();
  MX_USART2_UART_Init();
  MX_ADC3_Init();
  MX_ADC4_Init();
  MX_ADC5_Init();
  /* USER CODE BEGIN 2 */
  INV_HRTIM_DisableOutputs();
  inv_state = INV_STATE_SAFE;

  /* OLED上电等待只执行一次；主循环和10kHz ISR中禁止HAL_Delay()。 */
  HAL_Delay(100U);
  OLED_Init();
#if (INV_USER_WORK_MODE == INV_MODE_VOLTAGE_PR)
  OLED_ShowString(1U, 1U, "UV:");
  OLED_ShowString(1U, 9U, "VW:");
  OLED_ShowString(2U, 1U, "WU:");
  OLED_ShowString(2U, 9U, "RF:");
  OLED_ShowString(3U, 1U, "CA:");
  OLED_ShowString(3U, 9U, "CB:");
  OLED_ShowString(4U, 1U, "S:");
  OLED_ShowString(4U, 5U, "D:");
  OLED_ShowString(4U, 11U, "F:");
#else
  OLED_ShowString(1U, 1U, "IU:");
  OLED_ShowString(1U, 9U, "UV:");
  OLED_ShowString(2U, 1U, "IV:");
  OLED_ShowString(2U, 9U, "VW:");
  OLED_ShowString(3U, 1U, "IW:");
  OLED_ShowString(3U, 9U, "WU:");
  OLED_ShowString(4U, 1U, "S:");
  OLED_ShowString(4U, 5U, "D:");
  OLED_ShowString(4U, 11U, "F:");
#endif

  if (!INV_Measure_Init(&inv_measure_config))
  {
    Error_Handler();
  }

#if (INV_USER_WORK_MODE != INV_MODE_ADC_CALIBRATION)
  if (!INV_OpenLoop_Init(&inv_open_loop_config) ||
      (CBSVPWM_Init(&inv_svpwm, INV_USER_MODULATION_LIMIT,
                    INV_USER_MINIMUM_DC_V) == 0U))
  {
    Error_Handler();
  }
#endif
#if (INV_USER_WORK_MODE == INV_MODE_VOLTAGE_PR)
  if (!INV_VoltagePR_Init(&inv_voltage_pr_config))
  {
    Error_Handler();
  }
#endif

  inv_state = INV_STATE_ADC_START;
  if ((HAL_ADCEx_Calibration_Start(&hadc5, ADC_SINGLE_ENDED) != HAL_OK) ||
      (HAL_ADCEx_Calibration_Start(&hadc4, ADC_SINGLE_ENDED) != HAL_OK) ||
      (HAL_ADCEx_Calibration_Start(&hadc3, ADC_SINGLE_ENDED) != HAL_OK))
  {
    Error_Handler();
  }

  /* 三个ADC均为双Rank循环DMA；Master启动前先全部进入等待Trigger2状态。 */
  if ((HAL_ADC_Start_DMA(&hadc5, (uint32_t *)INV_Adc5Dma, 2U) != HAL_OK) ||
      (HAL_ADC_Start_DMA(&hadc4, (uint32_t *)INV_Adc4Dma, 2U) != HAL_OK) ||
      (HAL_ADC_Start_DMA(&hadc3, (uint32_t *)INV_Adc3Dma, 2U) != HAL_OK))
  {
    Error_Handler();
  }
  __HAL_DMA_DISABLE_IT(hadc5.DMA_Handle, DMA_IT_HT);
  __HAL_DMA_DISABLE_IT(hadc4.DMA_Handle, DMA_IT_HT);
  __HAL_DMA_DISABLE_IT(hadc3.DMA_Handle, DMA_IT_HT);

  if (INV_HRTIM_StartTimeBase() != HAL_OK)
  {
    Error_Handler();
  }

#if (INV_USER_WORK_MODE != INV_MODE_PWM_WAVEFORM)
  if (INV_AppWaitForSampling() != HAL_OK)
  {
    Error_Handler();
  }
#endif
  inv_state = INV_STATE_ADC_READY;

  /* IWDG在全部阻塞初始化结束后启动；低速任务每100ms固定刷新。 */
  MX_IWDG_Init();

#if (INV_USER_WORK_MODE == INV_MODE_ADC_CALIBRATION)
  INV_HRTIM_DisableOutputs();
#elif ((INV_USER_WORK_MODE == INV_MODE_VOLTAGE_PR) && \
       (INV_USER_VOLTAGE_CALIBRATION_CONFIRMED == 0U))
  /* 标定未确认时明确停在阻断态，ADC/OLED/VOFA继续运行。 */
  inv_state = INV_STATE_CALIBRATION_BLOCK;
  INV_Measure_LatchDiagnostic(INV_DIAG_PARAMETER);
  INV_HRTIM_DisableOutputs();
#else
  if (INV_AppEnableOutputs() != HAL_OK)
  {
    Error_Handler();
  }
  inv_state = INV_STATE_PR_RAMP;
#endif
  /* USER CODE END 2 */

  /* Infinite loop */
  /* USER CODE BEGIN WHILE */
  uint32_t vofa_tick = HAL_GetTick();
  uint32_t oled_tick = HAL_GetTick();
  uint32_t supervisor_tick = HAL_GetTick();
  uint32_t last_adc3_sequence = 0U;
  uint32_t last_adc4_sequence = 0U;
  uint32_t last_adc5_sequence = 0U;
#if (INV_USER_WORK_MODE != INV_MODE_ADC_CALIBRATION)
  uint32_t last_control_heartbeat = 0U;
#endif

  while (1)
  {
    /* USER CODE END WHILE */

    /* USER CODE BEGIN 3 */

    if ((HAL_GetTick() - vofa_tick) >= INV_USER_VOFA_PERIOD_MS)
    {
      INV_Measurement measurement;
      vofa_tick = HAL_GetTick();
      INV_Measure_GetSnapshot(&measurement);

#if (INV_USER_WORK_MODE == INV_MODE_ADC_CALIBRATION)
      {
        INV_CalibrationResult calibration;
        INV_Measure_GetCalibrationResult(&calibration);
#if (INV_USER_CALIBRATION_STEP == INV_CAL_STEP_ZERO)
        if (calibration.complete != 0U)
        {
          /* ZERO完成后CH0~5固定发布六路平均offset，用户无需依赖调试器读取。 */
          vofa_data[0] = (float)calibration.offset[0];
          vofa_data[1] = (float)calibration.offset[1];
          vofa_data[2] = (float)calibration.offset[2];
          vofa_data[3] = (float)calibration.offset[3];
          vofa_data[4] = (float)calibration.offset[4];
          vofa_data[5] = (float)calibration.offset[5];
        }
        else
#endif
        {
        vofa_data[0] = (float)measurement.iu_raw;
        vofa_data[1] = (float)measurement.iv_raw;
        vofa_data[2] = (float)measurement.iw_raw;
        vofa_data[3] = (float)measurement.vuv_raw;
        vofa_data[4] = (float)measurement.vvw_raw;
        vofa_data[5] = (float)measurement.vwu_raw;
        }
        vofa_data[6] = calibration.recommended_scale;
        vofa_data[7] = (float)((uint32_t)calibration.complete * 2U +
                              calibration.valid);
      }
#elif (INV_USER_WORK_MODE == INV_MODE_VOLTAGE_PR)
      {
        INV_VoltagePRTelemetry control;
        INV_VoltagePR_GetSnapshot(&control);
        vofa_data[0] = control.alpha_reference;
        vofa_data[1] = control.alpha_feedback;
        vofa_data[2] = control.beta_reference;
        vofa_data[3] = control.beta_feedback;
        vofa_data[4] = control.alpha_correction;
        vofa_data[5] = control.beta_correction;
        vofa_data[6] = control.vuv_rms;
        vofa_data[7] = (float)(measurement.diagnostic_bits +
                              (measurement.fault_bits << 16));
      }
#else
      {
        INV_OpenLoopOutput reference;
        INV_OpenLoop_GetSnapshot(&reference);
        vofa_data[0] = reference.sine_u;
        vofa_data[1] = (float)measurement.iu_raw;
        vofa_data[2] = (float)measurement.iv_raw;
        vofa_data[3] = (float)measurement.iw_raw;
        vofa_data[4] = (float)measurement.vuv_raw;
        vofa_data[5] = (float)measurement.vvw_raw;
        vofa_data[6] = (float)measurement.vwu_raw;
        vofa_data[7] = (float)(measurement.diagnostic_bits +
                              (measurement.fault_bits << 16));
      }
#endif
      (void)VOFA_Send(&huart2, vofa_data, VOFA_MAX_CHANNELS);
    }

    if ((HAL_GetTick() - supervisor_tick) >= INV_USER_SUPERVISOR_PERIOD_MS)
    {
      INV_Measurement measurement;
      supervisor_tick = HAL_GetTick();
      INV_Measure_GetSnapshot(&measurement);

#if (INV_USER_WORK_MODE != INV_MODE_PWM_WAVEFORM)
      if ((measurement.adc3_sequence == last_adc3_sequence) ||
          (measurement.adc4_sequence == last_adc4_sequence) ||
          (measurement.adc5_sequence == last_adc5_sequence))
      {
        INV_AppHandleDiagnostic(INV_DIAG_ADC_SYNC);
      }
      last_adc3_sequence = measurement.adc3_sequence;
      last_adc4_sequence = measurement.adc4_sequence;
      last_adc5_sequence = measurement.adc5_sequence;
#endif
#if (INV_USER_WORK_MODE != INV_MODE_ADC_CALIBRATION)
      if (((inv_state == INV_STATE_PR_RAMP) ||
           (inv_state == INV_STATE_PR_RUN)) &&
          (inv_control_heartbeat == last_control_heartbeat))
      {
        INV_AppHandleDiagnostic(INV_DIAG_CONTROL_TIMEOUT);
      }
      last_control_heartbeat = inv_control_heartbeat;
#endif

      /* 放宽档的诊断和FLT3锁存都继续喂狗，避免自动复位后重新开放PWM。 */
      if (HAL_IWDG_Refresh(&hiwdg) != HAL_OK)
      {
        Error_Handler();
      }
    }

    if ((HAL_GetTick() - oled_tick) >= INV_USER_OLED_PERIOD_MS)
    {
      INV_Measurement measurement;
      oled_tick = HAL_GetTick();
      INV_Measure_GetSnapshot(&measurement);
#if (INV_USER_WORK_MODE == INV_MODE_VOLTAGE_PR)
      {
        INV_VoltagePRTelemetry control;
        INV_VoltagePR_GetSnapshot(&control);
        OLED_ShowNum(1U, 4U, INV_DisplayUnsignedCenti(control.vuv_rms), 4U);
        OLED_ShowNum(1U, 12U, INV_DisplayUnsignedCenti(control.vvw_rms), 4U);
        OLED_ShowNum(2U, 4U, INV_DisplayUnsignedCenti(control.vwu_rms), 4U);
        OLED_ShowNum(2U, 12U, INV_DisplayUnsignedCenti(INV_USER_LINE_RMS_V), 4U);
        OLED_ShowSignedNum(3U, 4U,
                           INV_DisplaySignedCenti(control.alpha_correction), 3U);
        OLED_ShowSignedNum(3U, 12U,
                           INV_DisplaySignedCenti(control.beta_correction), 3U);
        if (inv_state == INV_STATE_CALIBRATION_BLOCK)
        {
          /* 当前默认状态：明确提示标定未确认，而不是让用户猜测PWM为何没有输出。 */
          OLED_ShowString(3U, 1U, "CALIBRATION OFF");
        }
      }
#else
      OLED_ShowNum(1U, 4U, measurement.iu_raw, 4U);
      OLED_ShowNum(1U, 12U, measurement.vuv_raw, 4U);
      OLED_ShowNum(2U, 4U, measurement.iv_raw, 4U);
      OLED_ShowNum(2U, 12U, measurement.vvw_raw, 4U);
      OLED_ShowNum(3U, 4U, measurement.iw_raw, 4U);
      OLED_ShowNum(3U, 12U, measurement.vwu_raw, 4U);
#endif
      OLED_ShowNum(4U, 3U, (uint32_t)inv_state, 1U);
      OLED_ShowHexNum(4U, 7U, measurement.diagnostic_bits, 3U);
      OLED_ShowHexNum(4U, 13U, measurement.fault_bits, 2U);
    }
  }
  /* USER CODE END 3 */
}

void SystemClock_Config(void)
{
  RCC_OscInitTypeDef RCC_OscInitStruct = {0};
  RCC_ClkInitTypeDef RCC_ClkInitStruct = {0};

  /** Configure the main internal regulator output voltage
  */
  HAL_PWREx_ControlVoltageScaling(PWR_REGULATOR_VOLTAGE_SCALE1_BOOST);

  /** Initializes the RCC Oscillators according to the specified parameters
  * in the RCC_OscInitTypeDef structure.
  */
  RCC_OscInitStruct.OscillatorType = RCC_OSCILLATORTYPE_LSI|RCC_OSCILLATORTYPE_HSE;
  RCC_OscInitStruct.HSEState = RCC_HSE_ON;
  RCC_OscInitStruct.LSIState = RCC_LSI_ON;
  RCC_OscInitStruct.PLL.PLLState = RCC_PLL_ON;
  RCC_OscInitStruct.PLL.PLLSource = RCC_PLLSOURCE_HSE;
  RCC_OscInitStruct.PLL.PLLM = RCC_PLLM_DIV2;
  RCC_OscInitStruct.PLL.PLLN = 85;
  RCC_OscInitStruct.PLL.PLLP = RCC_PLLP_DIV2;
  RCC_OscInitStruct.PLL.PLLQ = RCC_PLLQ_DIV2;
  RCC_OscInitStruct.PLL.PLLR = RCC_PLLR_DIV2;
  if (HAL_RCC_OscConfig(&RCC_OscInitStruct) != HAL_OK)
  {
    Error_Handler();
  }

  /** Initializes the CPU, AHB and APB buses clocks
  */
  RCC_ClkInitStruct.ClockType = RCC_CLOCKTYPE_HCLK|RCC_CLOCKTYPE_SYSCLK
                              |RCC_CLOCKTYPE_PCLK1|RCC_CLOCKTYPE_PCLK2;
  RCC_ClkInitStruct.SYSCLKSource = RCC_SYSCLKSOURCE_PLLCLK;
  RCC_ClkInitStruct.AHBCLKDivider = RCC_SYSCLK_DIV1;
  RCC_ClkInitStruct.APB1CLKDivider = RCC_HCLK_DIV1;
  RCC_ClkInitStruct.APB2CLKDivider = RCC_HCLK_DIV1;

  if (HAL_RCC_ClockConfig(&RCC_ClkInitStruct, FLASH_LATENCY_4) != HAL_OK)
  {
    Error_Handler();
  }

  /** Enables the Clock Security System
  */
  HAL_RCC_EnableCSS();
}

/* USER CODE BEGIN 4 */

/**
 * @brief ADC3/4/5规则组DMA完整传输回调。
 * @note 三路序列凑成一个新快照后只运行一次控制；ISR禁止OLED、VOFA和延时。
 */
void HAL_ADC_ConvCpltCallback(ADC_HandleTypeDef *hadc)
{
#if (INV_USER_WORK_MODE == INV_MODE_PWM_WAVEFORM)
  if ((hadc != NULL) && (hadc->Instance == ADC3))
  {
    INV_AppRunFastControl(NULL);
  }
#else
  INV_Measurement measurement;
  bool frame_ready = false;

  if ((hadc != NULL) && (hadc->Instance == ADC3))
  {
    frame_ready = INV_Measure_OnAdc3Complete(&measurement);
  }
  else if ((hadc != NULL) && (hadc->Instance == ADC4))
  {
    frame_ready = INV_Measure_OnAdc4Complete(&measurement);
  }
  else if ((hadc != NULL) && (hadc->Instance == ADC5))
  {
    frame_ready = INV_Measure_OnAdc5Complete(&measurement);
  }

#if (INV_USER_WORK_MODE != INV_MODE_ADC_CALIBRATION)
  if (frame_ready)
  {
    INV_AppRunFastControl(&measurement);
  }
#else
  (void)frame_ready;
#endif
#endif
}

/** ADC或DMA错误在默认放宽档只记录；完整保护档会由统一入口关闭PWM。 */
void HAL_ADC_ErrorCallback(ADC_HandleTypeDef *hadc)
{
  if ((hadc != NULL) && ((hadc->Instance == ADC3) ||
                         (hadc->Instance == ADC4) ||
                         (hadc->Instance == ADC5)))
  {
    INV_AppHandleDiagnostic(INV_DIAG_ADC_ERROR);
  }
}

/** ADC模拟看门狗事件只记录诊断；当前IOC宽窗口本身不构成有效保护。 */
void HAL_ADC_LevelOutOfWindowCallback(ADC_HandleTypeDef *hadc)
{
  if ((hadc != NULL) && ((hadc->Instance == ADC3) ||
                         (hadc->Instance == ADC4) ||
                         (hadc->Instance == ADC5)))
  {
    INV_AppHandleDiagnostic(INV_DIAG_ADC_WATCHDOG);
  }
}

/** Fault3硬件先置输出Inactive，本回调随后锁存软件状态。 */
void HAL_HRTIM_Fault3Callback(HRTIM_HandleTypeDef *hhrtim)
{
  if ((hhrtim != NULL) && (hhrtim->Instance == HRTIM1))
  {
    INV_AppLatchFault3();
  }
}

/* USER CODE END 4 */

void Error_Handler(void)
{
  /* USER CODE BEGIN Error_Handler_Debug */
  INV_HRTIM_DisableOutputs();
  INV_Measure_LatchFault(INV_FAULT_SYSTEM);
  INV_OpenLoop_Reset();
  INV_VoltagePR_Reset();
  CBSVPWM_Reset(&inv_svpwm);
  INV_HRTIM_StopInverterTimers();
  inv_state = INV_STATE_FAULT_LATCH;
  __disable_irq();
  while (1)
  {
  }
  /* USER CODE END Error_Handler_Debug */
}
#ifdef USE_FULL_ASSERT
/**
  * @brief  Reports the name of the source file and the source line number
  *         where the assert_param error has occurred.
  * @param  file: pointer to the source file name
  * @param  line: assert_param error line source number
  * @retval None
  */
void assert_failed(uint8_t *file, uint32_t line)
{
  /* USER CODE BEGIN 6 */
  (void)file;
  (void)line;
  /* USER CODE END 6 */
}
#endif /* USE_FULL_ASSERT */
